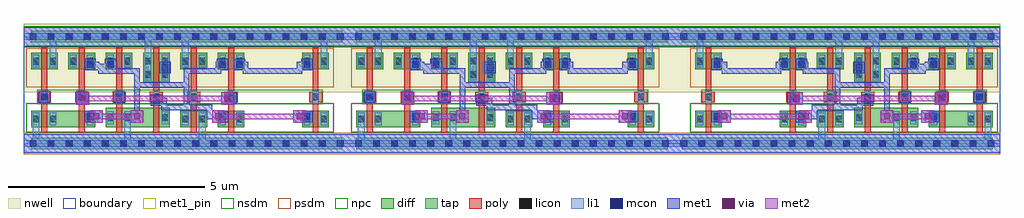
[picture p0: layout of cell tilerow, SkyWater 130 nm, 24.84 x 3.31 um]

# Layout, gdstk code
from math import pi, radians
import gdstk
lib = gdstk.Library(unit=1e-6, precision=1e-09)
def R(c, l, rs):  # rectangles x0, y0, x1, y1
    for r in rs: c.add(gdstk.rectangle(r[:2], r[2:], *l))
def A(c, l, x, y, w, h, nx, ny, dx, dy):  # array of equal rectangles
    R(c, l, [(x+i*dx, y+j*dy, x+i*dx+w, y+j*dy+h) for i in range(nx) for j in range(ny)])
nwell = (64, 20)
diff = (65, 20)
tap = (65, 44)
poly = (66, 20)
licon = (66, 44)
li1 = (67, 20)
mcon = (67, 44)
met1_pin = (68, 16)
met1 = (68, 20)
via = (68, 44)
met2 = (69, 20)
nsdm = (93, 44)
psdm = (94, 20)
npc = (95, 20)
boundary = (235, 4)

maj3 = lib.new_cell('maj3')
R(maj3, nwell, [(0,1.31,8.28,3.045)])
A(maj3, diff, 0.18, 1.885, 0.68, 0.42, 3, 1, 0.95, 0)
R(maj3, diff, [(0.18,0.415,1.81,0.835), (2.08,0.415,3.71,0.905), (3.98,0.415,4.66,0.835), (4.93,0.415,5.61,0.835), (7.08,0.415,7.76,0.835), (3.03,1.555,3.71,2.305), (3.98,1.885,4.66,2.305), (4.93,1.885,5.61,2.305), (7.08,1.885,7.76,2.305)])
R(maj3, tap, [(0.18,-0.145,8.1,0.145), (0.18,2.575,8.1,2.865)])
A(maj3, poly, 0.445, 0.285, 0.15, 2.15, 6, 1, 0.95, 0)
A(maj3, poly, 0.355, 1.045, 0.33, 0.27, 6, 1, 0.95, 0)
R(maj3, poly, [(7.345,0.285,7.495,2.435), (7.255,1.045,7.585,1.315)])
A(maj3, licon, 0.605, -0.085, 0.17, 0.17, 16, 2, 0.46, 2.72)
A(maj3, licon, 0.435, 1.095, 0.17, 0.17, 6, 1, 0.95, 0)
R(maj3, licon, [(0.22,0.54,0.39,0.71), (0.65,0.54,0.82,0.71), (1.6,0.54,1.77,0.71), (4.02,0.54,4.19,0.71), (4.45,0.54,4.62,0.71), (4.97,0.54,5.14,0.71), (5.4,0.54,5.57,0.71), (7.12,0.54,7.29,0.71), (7.55,0.54,7.72,0.71), (2.12,0.575,2.29,0.745), (2.55,0.575,2.72,0.745), (3.5,0.575,3.67,0.745), (7.335,1.095,7.505,1.265), (3.07,1.675,3.24,1.845), (3.5,1.675,3.67,1.845), (0.22,2.01,0.39,2.18), (0.65,2.01,0.82,2.18), (1.17,2.01,1.34,2.18), (1.6,2.01,1.77,2.18), (2.12,2.01,2.29,2.18), (2.55,2.01,2.72,2.18), (4.02,2.01,4.19,2.18), (4.45,2.01,4.62,2.18), (4.97,2.01,5.14,2.18), (5.4,2.01,5.57,2.18), (7.12,2.01,7.29,2.18), (7.55,2.01,7.72,2.18), (3.07,2.015,3.24,2.185), (3.5,2.015,3.67,2.185)])
A(maj3, li1, 0.435, 1.015, 0.17, 0.33, 6, 1, 0.95, 0)
R(maj3, li1, [(0,-0.085,8.28,0.085), (0.22,-0.085,0.39,0.79), (2.55,-0.085,2.72,0.825), (4.45,-0.085,4.62,0.79), (0.22,0.46,0.39,0.79), (0.65,0.46,0.82,0.79), (1.6,0.46,1.77,0.79), (4.02,0.46,4.19,0.79), (4.45,0.46,4.62,0.79), (4.97,0.46,5.14,0.79), (5.4,0.46,5.57,0.79), (7.12,0.46,7.29,0.79), (7.55,0.46,7.72,0.79), (2.12,0.495,2.29,0.825), (2.55,0.495,2.72,0.825), (3.5,0.495,3.67,0.825), (7.335,1.015,7.505,1.345), (3.07,1.595,3.24,2.265), (3.07,1.595,3.24,2.805), (3.5,1.595,3.67,2.265), (0.22,1.93,0.39,2.26), (0.65,1.93,0.82,2.26), (0.65,1.93,0.82,2.805), (1.17,1.93,1.34,2.26), (1.6,1.93,1.77,2.26), (2.12,1.93,2.29,2.26), (2.55,1.93,2.72,2.26), (4.02,1.93,4.19,2.26), (4.02,1.93,4.19,2.805), (4.45,1.93,4.62,2.26), (4.97,1.93,5.14,2.26), (5.4,1.93,5.57,2.26), (7.12,1.93,7.29,2.26), (7.55,1.93,7.72,2.26), (7.55,1.93,7.72,2.805), (0,2.635,8.28,2.805)])
A(maj3, mcon, 0.145, -0.085, 0.17, 0.17, 18, 2, 0.46, 2.72)
A(maj3, mcon, 0.435, 1.095, 0.17, 0.17, 3, 1, 0.95, 0)
R(maj3, mcon, [(1.6,0.605,1.77,0.775), (4.97,0.605,5.14,0.775), (7.12,0.605,7.29,0.775), (3.285,1.015,3.455,1.185), (5.185,1.065,5.355,1.235), (3.5,1.845,3.67,2.015), (1.6,1.93,1.77,2.1), (2.12,1.93,2.29,2.1), (4.97,1.93,5.14,2.1), (5.4,1.93,5.57,2.1), (7.12,1.93,7.29,2.1)])
A(maj3, met1_pin, 0.375, 1.035, 0.29, 0.29, 3, 1, 0.95, 0)
R(maj3, met1_pin, [(0,-0.24,8.28,0.24), (3.44,1.785,3.73,2.075), (0,2.48,8.28,2.96)])
A(maj3, met1, 2.715, 0.53, 0.32, 0.32, 3, 1, 2.07, 0)
A(maj3, met1, 0.375, 1.035, 0.29, 0.29, 3, 1, 0.95, 0)
R(maj3, met1, [(0,-0.24,8.28,0.24), (1.68,0.53,2,0.85), (1.54,0.545,1.83,0.835), (4.91,0.545,5.2,0.835), (7.06,0.545,7.35,0.835), (1.615,0.62,1.91,0.76), (2.805,0.62,2.945,1.565), (4.645,0.62,5.015,0.76), (4.645,0.62,4.785,0.99), (4.785,0.62,4.91,0.835), (4.875,0.62,5.125,0.76), (6.945,0.62,7.275,0.76), (3.495,0.85,3.635,1.17), (3.495,0.85,4.785,0.99), (4.07,0.85,4.21,1.91), (3.225,0.955,3.515,1.245), (1.335,0.99,1.655,1.31), (5.015,0.99,5.335,1.31), (5.125,1.005,5.415,1.295), (3.3,1.03,3.635,1.17), (1.425,1.08,1.565,1.22), (5.105,1.08,5.34,1.22), (2.805,1.425,4.21,1.565), (2.805,1.425,2.945,1.91), (1.885,1.77,2.37,1.91), (1.885,1.77,2.025,2.025), (2.23,1.77,2.37,2.085), (2.23,1.77,2.945,1.91), (4.07,1.77,5.015,1.91), (4.875,1.77,5.015,2.085), (5.565,1.77,5.705,2.085), (5.565,1.77,7.085,1.91), (6.945,1.77,7.085,2.085), (3.44,1.785,3.73,2.075), (1.54,1.87,1.83,2.16), (1.83,1.87,1.885,1.91), (1.83,1.87,1.885,2.025), (2.025,1.87,2.06,2.025), (2.06,1.87,2.35,2.16), (4.91,1.87,5.2,2.16), (5.34,1.87,5.63,2.16), (7.06,1.87,7.35,2.16), (1.77,1.885,1.91,2.085), (1.77,1.885,2.025,2.025), (2.025,1.885,2.06,2.025), (2.025,1.91,2.135,1.945), (2.135,1.91,2.37,1.945), (1.615,1.945,1.91,2.085), (2.025,1.945,2.135,2.025), (2.135,1.945,2.37,2.085), (4.875,1.945,5.125,2.085), (5.415,1.945,5.705,2.085), (6.945,1.945,7.275,2.085), (0,2.48,8.28,2.96)])
A(maj3, via, 2.8, 0.615, 0.15, 0.15, 3, 1, 2.07, 0)
R(maj3, via, [(1.765,0.615,1.915,0.765), (1.42,1.075,1.57,1.225), (5.1,1.075,5.25,1.225)])
A(maj3, met2, 2.715, 0.53, 0.32, 0.32, 3, 1, 2.07, 0)
R(maj3, met2, [(1.68,0.53,2,0.85), (1.77,0.62,2.945,0.76), (4.875,0.62,7.085,0.76), (1.335,0.99,1.655,1.31), (5.015,0.99,5.335,1.31), (1.425,1.08,5.245,1.22)])
R(maj3, nsdm, [(0.055,0.29,7.885,1.03), (0,2.45,8.28,2.99)])
R(maj3, psdm, [(0,-0.27,8.28,0.27), (0.055,1.43,7.885,2.43)])
R(maj3, npc, [(0.335,0.995,7.605,1.365)])
R(maj3, boundary, [(0,0,8.28,2.72)])
maj3.add(gdstk.Label('n2', (0.735,0.625), layer=67, texttype=5))
maj3.add(gdstk.Label('n3', (1.685,0.625), layer=67, texttype=5))
maj3.add(gdstk.Label('n4', (2.205,0.66), layer=67, texttype=5))
maj3.add(gdstk.Label('n5', (4.105,0.625), layer=67, texttype=5))
maj3.add(gdstk.Label('n1', (0.305,2.095), layer=67, texttype=5))
maj3.add(gdstk.Label('n7', (1.255,2.095), layer=67, texttype=5))
maj3.add(gdstk.Label('n6', (5.485,2.095), layer=67, texttype=5))
maj3.add(gdstk.Label('A', (0.52,1.18), layer=68, texttype=5))
maj3.add(gdstk.Label('B', (1.47,1.18), layer=68, texttype=5))
maj3.add(gdstk.Label('C', (2.42,1.18), layer=68, texttype=5))
maj3.add(gdstk.Label('X', (3.585,1.93), layer=68, texttype=5))
maj3.add(gdstk.Label('VPWR', (4.14,2.72), layer=68, texttype=5))
maj3.add(gdstk.Label('VGND', (4.14,0), layer=68, texttype=5))
maj3.add(gdstk.Label('A', (0.52,1.18), layer=68, texttype=16))
maj3.add(gdstk.Label('B', (1.47,1.18), layer=68, texttype=16))
maj3.add(gdstk.Label('C', (2.42,1.18), layer=68, texttype=16))
maj3.add(gdstk.Label('X', (3.585,1.93), layer=68, texttype=16))
maj3.add(gdstk.Label('VPWR', (4.14,2.72), layer=68, texttype=16))
maj3.add(gdstk.Label('VGND', (4.14,0), layer=68, texttype=16))

tilerow = lib.new_cell('tilerow')
tilerow.add(gdstk.Reference(maj3, (0,0)))
tilerow.add(gdstk.Reference(maj3, (8.28,0)))
tilerow.add(gdstk.Reference(maj3, (24.84,0), rotation=pi, x_reflection=True))

lib.write_gds('tilerow.gds')
